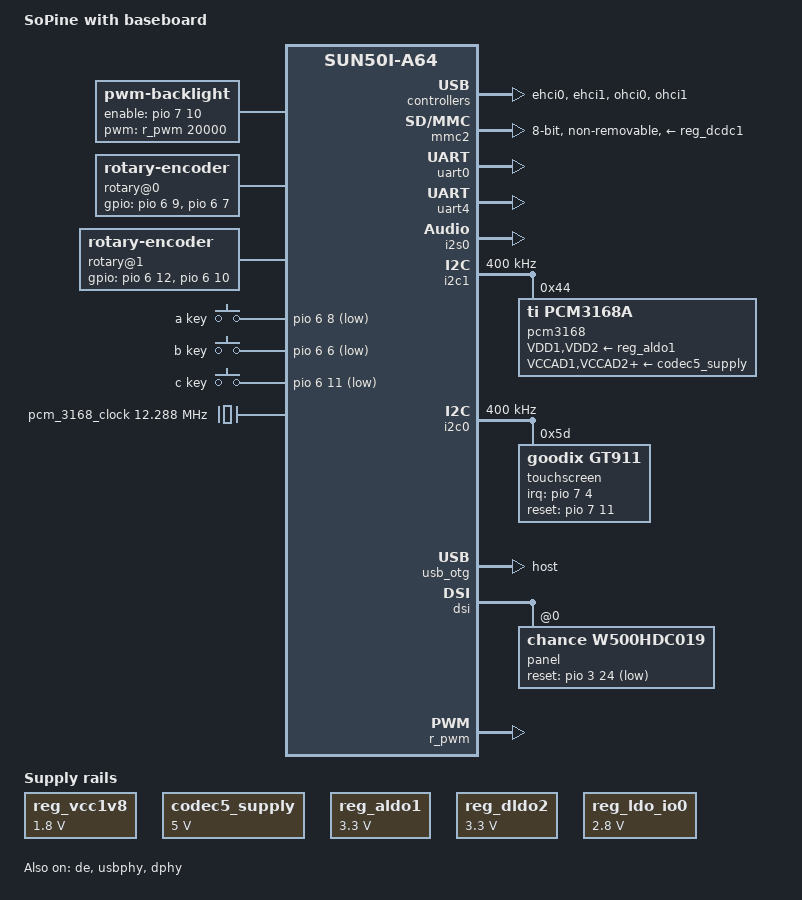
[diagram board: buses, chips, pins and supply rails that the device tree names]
/*
 * Copyright (c) 2017 Icenowy Zheng <icenowy@aosc.xyz>
 *
 * Based on sun50i-a64-pine64.dts, which is:
 *   Copyright (c) 2016 ARM Ltd.
 *
 * This file is dual-licensed: you can use it either under the terms
 * of the GPL or the X11 license, at your option. Note that this dual
 * licensing only applies to this file, and not this project as a
 * whole.
 *
 *  a) This library is free software; you can redistribute it and/or
 *     modify it under the terms of the GNU General Public License as
 *     published by the Free Software Foundation; either version 2 of the
 *     License, or (at your option) any later version.
 *
 *     This library is distributed in the hope that it will be useful,
 *     but WITHOUT ANY WARRANTY; without even the implied warranty of
 *     MERCHANTABILITY or FITNESS FOR A PARTICULAR PURPOSE.  See the
 *     GNU General Public License for more details.
 *
 * Or, alternatively,
 *
 *  b) Permission is hereby granted, free of charge, to any person
 *     obtaining a copy of this software and associated documentation
 *     files (the "Software"), to deal in the Software without
 *     restriction, including without limitation the rights to use,
 *     copy, modify, merge, publish, distribute, sublicense, and/or
 *     sell copies of the Software, and to permit persons to whom the
 *     Software is furnished to do so, subject to the following
 *     conditions:
 *
 *     The above copyright notice and this permission notice shall be
 *     included in all copies or substantial portions of the Software.
 *
 *     THE SOFTWARE IS PROVIDED "AS IS", WITHOUT WARRANTY OF ANY KIND,
 *     EXPRESS OR IMPLIED, INCLUDING BUT NOT LIMITED TO THE WARRANTIES
 *     OF MERCHANTABILITY, FITNESS FOR A PARTICULAR PURPOSE AND
 *     NONINFRINGEMENT. IN NO EVENT SHALL THE AUTHORS OR COPYRIGHT
 *     HOLDERS BE LIABLE FOR ANY CLAIM, DAMAGES OR OTHER LIABILITY,
 *     WHETHER IN AN ACTION OF CONTRACT, TORT OR OTHERWISE, ARISING
 *     FROM, OUT OF OR IN CONNECTION WITH THE SOFTWARE OR THE USE OR
 *     OTHER DEALINGS IN THE SOFTWARE.
 */

/dts-v1/;

#include "sun50i-a64-sopine.dtsi"
#include <dt-bindings/pwm/pwm.h>

/ {
	model = "SoPine with baseboard";
	compatible = "pine64,sopine-baseboard", "pine64,sopine",
			   "allwinner,sun50i-a64";

	aliases {
		ethernet0 = &emac;
		serial0 = &uart0;
	};

	chosen {
		stdout-path = "serial0:115200n8";
	};

reg_vcc1v8: vcc1v8 {
				compatible = "regulator-fixed";
				regulator-name = "vcc1v8";
				regulator-min-microvolt = <1800000>;
				regulator-max-microvolt = <1800000>;
			};

			codec5_supply: fixedregulator@1 {
				compatible = "regulator-fixed";
				regulator-name = "VCCAD";
				regulator-min-microvolt = <5000000>;
				regulator-max-microvolt = <5000000>;
			};

backlight: backlight {
			   compatible = "pwm-backlight";
			   pwms = <&r_pwm 20000 100000 0>;
			   brightness-levels = <1 2 4 8 16 32 64 128 512>;
			   default-brightness-level = <8>;
			   enable-gpios = <&pio 7 10 GPIO_ACTIVE_HIGH>; /* LCD-BL-EN: PH10 */
		   };


		   rotary@0 {
			   compatible = "rotary-encoder";
			   gpios = <&pio 6 9 0>, <&pio 6 7 0>; /* A: PG9  B: PG7 */
			   linux,axis = <0>; /* REL_X */
			   /* rotary-encoder,steps = <24>; */
               rotary-encoder,relative-axis;
		   };

		   rotary@1 {
			   compatible = "rotary-encoder";
			   gpios = <&pio 6 12 0>, <&pio 6 10 0>; /* A: PG12  B: PG10 */
			   linux,axis = <1>; /* REL_Y  */
			   /* rotary-encoder,steps = <24>; */
               rotary-encoder,relative-axis;
		   };

		   gpio_keys {
			   compatible = "gpio-keys";
			   /* poll-interval = <100>; */

			   a-key { 
				   label = "a key";
				   gpios = <&pio 6 8 GPIO_ACTIVE_LOW>; /* tap PG8 */
				   linux,code = <30>; /* KEY_A */
			   };

			   b-key { 
				   label = "b key";
				   gpios = <&pio 6 6 GPIO_ACTIVE_LOW>; /* step PG6 */
				   linux,code = <48>; /* KEY_B */
			   };

			   c-key { 
				   label = "c key";
				   gpios = <&pio 6 11 GPIO_ACTIVE_LOW>; /* tap PG11 */
				   linux,code = <46>; /* KEY_LEFT */
			   };
		   };

		   pcm_3168_clock: osc12288_clk {
			   compatible = "fixed-clock";
			   #clock-cells = <0>;
			   clock-frequency = <12288000>;
			   clock-output-names = "scki";
			   status = "okay";
		   };
};

&ac_power_supply {
	status = "okay";
};

&battery_power_supply {
	status = "okay";
};

/* &codec { */
/* 	status = "okay"; */
/* }; */

/* &codec_analog { */
/* 	status = "okay"; */
/* }; */

&de {
	status = "okay";
};

&ehci0 {
	status = "okay";
};

&ehci1 {
	status = "okay";
};

&mmc2 {
	pinctrl-names = "default";
	pinctrl-0 = <&mmc2_pins>;
	vmmc-supply = <&reg_dcdc1>;
	vqmmc-supply = <&reg_vcc1v8>;
	bus-width = <8>;
	non-removable;
	cap-mmc-hw-reset;
	status = "okay";
};

&ohci0 {
	status = "okay";
};

&ohci1 {
	status = "okay";
};

&reg_aldo1 {
	regulator-always-on; /* not sure how to specify this to panel */
	regulator-min-microvolt = <3300000>;
	regulator-max-microvolt = <3300000>;
	regulator-name = "aldo1";
};

&reg_dc1sw {
	regulator-always-on; /* not sure how to specify this to panel */
	regulator-name = "vcc-phy";
};

/* &reg_dldo1 { */
/* 	regulator-min-microvolt = <3300000>; */
/* 	regulator-max-microvolt = <3300000>; */
/* 	regulator-name = "vcc-hdmi"; */
/* }; */

&reg_dldo2 {
	regulator-always-on; /* not sure how to specify this to panel */
	regulator-min-microvolt = <3300000>;
	regulator-max-microvolt = <3300000>;
	regulator-name = "vcc-mipi";
};

&reg_ldo_io0 {
	regulator-always-on; /* CTP doesn't have a regulator slot */
	regulator-min-microvolt = <2800000>;
	regulator-max-microvolt = <2800000>;
	regulator-name = "vdd-ctp";
	status = "okay";
};

/* &reg_dldo4 { */
/* 	regulator-min-microvolt = <3300000>; */
/* 	regulator-max-microvolt = <3300000>; */
/* 	regulator-name = "vcc-wifi"; */
/* }; */

/* &sound { */
/* 	simple-audio-card,aux-devs = <&codec_analog>; */
/* 	simple-audio-card,widgets = "Microphone", "Microphone Jack", */
/* 				    "Headphone", "Headphone Jack"; */
/* 	simple-audio-card,routing = */
/* 			"Left DAC", "AIF1 Slot 0 Left", */
/* 			"Right DAC", "AIF1 Slot 0 Right", */
/* 			"Headphone Jack", "HP", */
/* 			"AIF1 Slot 0 Left ADC", "Left ADC", */
/* 			"AIF1 Slot 0 Right ADC", "Right ADC", */
/* 			"MIC2", "Microphone Jack"; */
/* 	status = "okay"; */
/* }; */


&uart0 {
	pinctrl-names = "default";
	pinctrl-0 = <&uart0_pb_pins>;
	status = "okay";
};

&uart4 {
	pinctrl-names = "default";
	pinctrl-0 = <&uart4_pins>;
	status = "okay";
};

&i2s0 {
	pinctrl-names = "default";
	pinctrl-0 = <&i2s0_bclk>, <&i2s0_lrclk>, <&i2s0_mclk>, <&i2s0_sdo0>, <&i2s0_sdi>;
	status = "okay";
};

&i2c1 {
	pinctrl-names = "default";
	pinctrl-0 = <&i2c1_pins>;
	status = "okay";
	clock-frequency = <400000>;

	pcm3168: codec@44 {
		 compatible = "ti,pcm3168a";
		 reg = <0x44>;
		 /* clocks = <&clk_core CLK_AUDIO>; */
		 /* clocks = <&clk_mcasp0>; */
		 /* clock-names = "scki"; */
		 clocks = <&pcm_3168_clock>;
		 clock-names = "scki";
		 #sound-dai-cells = <1>;
		 VDD1-supply = <&reg_aldo1>;
		 VDD2-supply = <&reg_aldo1>;
		 VCCAD1-supply = <&codec5_supply>;
		 VCCAD2-supply = <&codec5_supply>;
		 VCCDA1-supply = <&codec5_supply>;
		 VCCDA2-supply = <&codec5_supply>;
	};
};

&i2c0 {
	pinctrl-names = "default";
	pinctrl-0 = <&i2c0_pins>;
	status = "okay";
	clock-frequency = <400000>;

	touchscreen@5d {
		compatible = "goodix,gt911";
		reg = <0x5d>;
		interrupt-parent = <&pio>;
		interrupts = <7 4 IRQ_TYPE_EDGE_FALLING>;
		irq-gpios = <&pio 7 4 GPIO_ACTIVE_HIGH>;	/* CTP-INT: PH4 */
		reset-gpios = <&pio 7 11 GPIO_ACTIVE_HIGH>;	/* CTP-RST: PH11 */
	};
};

&usb_otg {
	dr_mode = "host";
	status = "okay";
};

&usbphy {
	status = "okay";
};

&dphy {
	status = "okay";
};

&dsi {
	vcc-dsi-supply = <&reg_dldo1>;		/* VCC3V3-DSI */
	#address-cells = <1>;
	#size-cells = <0>;
	status = "okay";

	panel@0 {
		compatible = "chance,w500hdc019", "ilitek,ili9881d";
		reg = <0>;
		power_supply = <&reg_dc1sw>;	/* VCC-LCD */
		/* dvdd-supply = <&reg_dldo2>;	/1* VCC-MIPI *1/ */
		reset-gpios = <&pio 3 24 GPIO_ACTIVE_LOW>; /* LCD-RST: PD24 */
		/* backlight = <&backlight>; */
	};
};

&r_pwm {
	pinctrl-names = "default";
	pinctrl-0 = <&r_pwm_pin>;
	status = "okay";
};


&sound {
	status = "okay";
	compatible = "simple-audio-card";
	simple-audio-card,name = "digit-pcm3168a";
	/* simple-audio-card,bitclock-inversion; */
	/* simple-audio-card,frame-inversion; */
	/* simple-audio-card,channels-playback-override = <0>; */
	/* simple-audio-card,channels-capture-override  = <4>; */
	simple-audio-card,widgets =
		"Line", "Channel1out",
		"Line", "Channel2out",
		"Line", "Channel3out",
		"Line", "Channel4out",
		"Line", "Channel1in",
		"Line", "Channel2in",
		"Line", "Channel3in",
		"Line", "Channel4in";
	simple-audio-card,routing =
		"Channel1out", "AOUT1L",
		"Channel2out", "AOUT1R",
		"Channel3out", "AOUT2L",
		"Channel4out", "AOUT2R",
		"AIN1L", "Channel1in", 
		"AIN1R", "Channel2in", 
		"AIN2L", "Channel3in", 
		"AIN2R", "Channel4in"; 

	
	simple-audio-card,dai-link@0 {
			format = "left_j";
			frame-master = <&adc_audio_master>;
			bitclock-master = <&adc_audio_master>;
			/* frame-inversion; */

			cpu {
					sound-dai = <&i2s0 0>;
					dai-tdm-slot-num = <8>;
					dai-tdm-slot-width = <32>;
					/* clocks = <&pcm_3168_clock>; */
					/* clocks = <&ccu CLK_AC_DIG>; */
			};

			dac_audio_master: codec {
					sound-dai = <&pcm3168 0>;
					clocks = <&pcm_3168_clock>;
			};
	};

	simple-audio-card,dai-link@1 {
			format = "left_j";
			frame-master = <&adc_audio_master>;
			bitclock-master = <&adc_audio_master>;

			cpu {
					sound-dai = <&i2s0>;
					dai-tdm-slot-num = <8>;
					dai-tdm-slot-width = <32>;
					/* clocks = <&ccu CLK_AC_DIG>; */
					/* clocks = <&pcm_3168_clock>; */
			};

			adc_audio_master: codec {
					sound-dai = <&pcm3168 1>;
					clocks = <&pcm_3168_clock>;
			};
	};

};
